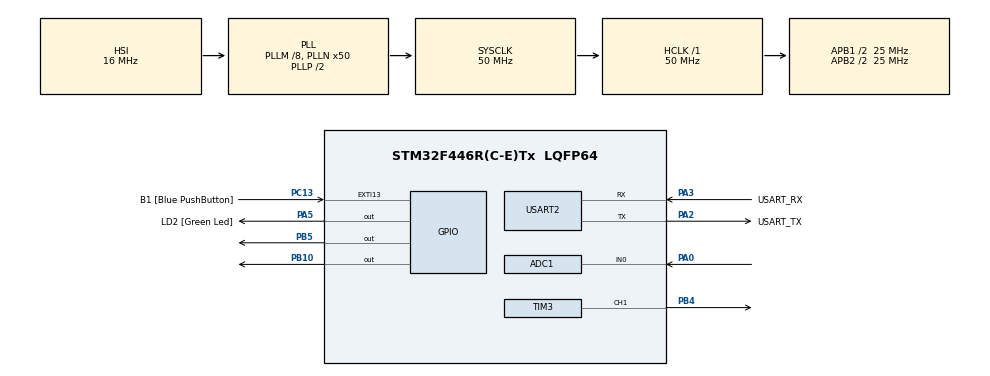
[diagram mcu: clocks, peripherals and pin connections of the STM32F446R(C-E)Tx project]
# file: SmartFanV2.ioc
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ADC1.Channel-0\#ChannelRegularConversion=ADC_CHANNEL_0
ADC1.ContinuousConvMode=ENABLE
ADC1.NbrOfConversionFlag=1
ADC1.Rank-0\#ChannelRegularConversion=1
ADC1.SamplingTime-0\#ChannelRegularConversion=ADC_SAMPLETIME_3CYCLES
ADC1.master=1
Mcu.Family=STM32F4
Mcu.Name=STM32F446R(C-E)Tx
Mcu.Package=LQFP64
NVIC.PriorityGroup=NVIC_PRIORITYGROUP_0
PA0-WKUP.Signal=ADCx_IN0
PA13.GPIO_Label=TMS
PA13.Mode=Serial_Wire
PA13.Signal=SYS_JTMS-SWDIO
PA14.GPIO_Label=TCK
PA14.Mode=Serial_Wire
PA14.Signal=SYS_JTCK-SWCLK
PA2.GPIO_Label=USART_TX
PA2.Mode=Asynchronous
PA2.Signal=USART2_TX
PA3.GPIO_Label=USART_RX
PA3.Mode=Asynchronous
PA3.Signal=USART2_RX
PA5.GPIO_Label=LD2 [Green Led]
PA5.Signal=GPIO_Output
PB10.Signal=GPIO_Output
PB3.GPIO_Label=SWO
PB3.Signal=SYS_JTDO-SWO
PB4.Signal=S_TIM3_CH1
PB5.Signal=GPIO_Output
PC13.GPIO_Label=B1 [Blue PushButton]
PC13.GPIO_ModeDefaultEXTI=GPIO_MODE_IT_FALLING
PC13.Signal=GPXTI13
PC14-OSC32_IN.Mode=LSE-External-Oscillator
PC14-OSC32_IN.Signal=RCC_OSC32_IN
PC15-OSC32_OUT.Mode=LSE-External-Oscillator
PC15-OSC32_OUT.Signal=RCC_OSC32_OUT
PH0-OSC_IN.Mode=HSE-External-Oscillator
PH0-OSC_IN.Signal=RCC_OSC_IN
PH1-OSC_OUT.Mode=HSE-External-Oscillator
PH1-OSC_OUT.Signal=RCC_OSC_OUT
ProjectManager.HeapSize=0x200
ProjectManager.StackSize=0x400
ProjectManager.TargetToolchain=STM32CubeIDE
RCC.48MHZClocksFreq_Value=84000000
RCC.AHBFreq_Value=50000000
RCC.APB1CLKDivider=RCC_HCLK_DIV2
RCC.APB1Freq_Value=25000000
RCC.APB1TimFreq_Value=50000000
RCC.APB2CLKDivider=RCC_HCLK_DIV2
RCC.APB2Freq_Value=25000000
RCC.APB2TimFreq_Value=50000000
RCC.CortexFreq_Value=50000000
RCC.FLatency-AdvancedSettings=FLASH_LATENCY_1
RCC.HCLKFreq_Value=50000000
RCC.HSE_VALUE=8000000
RCC.HSI_VALUE=16000000
RCC.PLLM=8
RCC.PLLN=50
RCC.SYSCLKFreq_VALUE=50000000
RCC.SYSCLKSource=RCC_SYSCLKSOURCE_PLLCLK
RCC.USBFreq_Value=50000000
RCC.VCOOutputFreq_Value=100000000
SH.ADCx_IN0.0=ADC1_IN0,IN0
SH.S_TIM3_CH1.0=TIM3_CH1,PWM Generation1 CH1
TIM3.Channel-PWM\ Generation1\ CH1=TIM_CHANNEL_1
TIM3.Period=20000-1
TIM3.Prescaler=50-1
USART2.VirtualMode=VM_ASYNC
VP_TIM3_VS_ClockSourceINT.Mode=Internal
board=NUCLEO-F446RE

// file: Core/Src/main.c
/* USER CODE BEGIN Header */
/**
  ******************************************************************************
  * @file           : main.c
  * @brief          : Main program body
  ******************************************************************************
  * @attention
  *
  * Copyright (c) 2025 STMicroelectronics.
  * All rights reserved.
  *
  * This software is licensed under terms that can be found in the LICENSE file
  * in the root directory of this software component.
  * If no LICENSE file comes with this software, it is provided AS-IS.
  *
  ******************************************************************************
  */
/* USER CODE END Header */
#include "main.h"

/* USER CODE BEGIN Includes */
#include "string.h"
#include "stdio.h"
#include <math.h>
/* USER CODE END Includes */

ADC_HandleTypeDef hadc1;

TIM_HandleTypeDef htim3;

UART_HandleTypeDef huart2;

void SystemClock_Config(void);
static void MX_GPIO_Init(void);
static void MX_USART2_UART_Init(void);
static void MX_ADC1_Init(void);
static void MX_TIM3_Init(void);

/* USER CODE BEGIN 0 */
uint16_t readAnalogValue;
uint16_t tempValue;
char tempBuffer[20];
char analogBuffer[20];

void calcTemp(){
	//find v out
	float vRef = 3.3;//circuit connected to 5v
	float analogMax = 4095;
	float rFixed = 10000; //10k ohm resitor
	float vOut = ((float)readAnalogValue / analogMax) * vRef;
	float rThermistor = rFixed * ((vRef/vOut) - 1);
	float tZero = 298.15;
	float beta = 3380;
	float r0 = 10000;
	float tempKelvin = 1 /((1 / tZero) + ((1 / beta) * log(rThermistor / r0)));
	float tempCelcius = tempKelvin - 273.15;
	tempValue = (tempCelcius * 9) / 5 + 32;
}

void startServo(){
	//start the servo motor turning
	for (int i= 500; i < 2501; i += 100){
		__HAL_TIM_SET_COMPARE(&htim3, TIM_CHANNEL_1, i);
		HAL_Delay(100);
	}
	for (int i= 2500; i > 499; i -= 100){
		__HAL_TIM_SET_COMPARE(&htim3, TIM_CHANNEL_1, i);
		HAL_Delay(100);
	}
}
/* USER CODE END 0 */

int main(void)
{

  /* MCU Configuration--------------------------------------------------------*/

  /* Reset of all peripherals, Initializes the Flash interface and the Systick. */
  HAL_Init();

  /* Configure the system clock */
  SystemClock_Config();

  /* Initialize all configured peripherals */
  MX_GPIO_Init();
  MX_USART2_UART_Init();
  MX_ADC1_Init();
  MX_TIM3_Init();
  /* USER CODE BEGIN 2 */
  HAL_TIM_PWM_Start(&htim3, TIM_CHANNEL_1);
  __HAL_TIM_SET_COMPARE(&htim3, TIM_CHANNEL_1, 500);
  /* USER CODE END 2 */

  /* Infinite loop */
  while (1)
  {

    /* USER CODE BEGIN 3 */
	  //start ADC
	  HAL_ADC_Start(&hadc1);
	  HAL_ADC_PollForConversion(&hadc1, HAL_MAX_DELAY);
	  readAnalogValue = HAL_ADC_GetValue(&hadc1);

	  //show via uart
	  sprintf(analogBuffer, "ADC: %d\r\n", readAnalogValue);
	  HAL_UART_Transmit(&huart2, (uint8_t *)analogBuffer, strlen(analogBuffer), HAL_MAX_DELAY);
	  //convert analog to temp values and display
	  calcTemp();
	  sprintf(tempBuffer, "TEMP: %d\r\n", tempValue);
	  HAL_UART_Transmit(&huart2, (uint8_t *)tempBuffer, strlen(tempBuffer), HAL_MAX_DELAY);
	  //if temp is higher than 76f start the fan
	  if (tempValue >= 76){
		  HAL_GPIO_WritePin(GPIOB, GPIO_PIN_10, 1);
		  HAL_GPIO_WritePin(GPIOB, GPIO_PIN_5, 0);
		  startServo();
	  } else{
		  HAL_GPIO_WritePin(GPIOB, GPIO_PIN_10, 0);
		  HAL_GPIO_WritePin(GPIOB, GPIO_PIN_5, 0);
	  }

	  HAL_Delay(1000);

  }
  /* USER CODE END 3 */
}

void SystemClock_Config(void)
{
  RCC_OscInitTypeDef RCC_OscInitStruct = {0};
  RCC_ClkInitTypeDef RCC_ClkInitStruct = {0};

  /** Configure the main internal regulator output voltage
  */
  __HAL_RCC_PWR_CLK_ENABLE();
  __HAL_PWR_VOLTAGESCALING_CONFIG(PWR_REGULATOR_VOLTAGE_SCALE3);

  /** Initializes the RCC Oscillators according to the specified parameters
  * in the RCC_OscInitTypeDef structure.
  */
  RCC_OscInitStruct.OscillatorType = RCC_OSCILLATORTYPE_HSI;
  RCC_OscInitStruct.HSIState = RCC_HSI_ON;
  RCC_OscInitStruct.HSICalibrationValue = RCC_HSICALIBRATION_DEFAULT;
  RCC_OscInitStruct.PLL.PLLState = RCC_PLL_ON;
  RCC_OscInitStruct.PLL.PLLSource = RCC_PLLSOURCE_HSI;
  RCC_OscInitStruct.PLL.PLLM = 8;
  RCC_OscInitStruct.PLL.PLLN = 50;
  RCC_OscInitStruct.PLL.PLLP = RCC_PLLP_DIV2;
  RCC_OscInitStruct.PLL.PLLQ = 2;
  RCC_OscInitStruct.PLL.PLLR = 2;
  if (HAL_RCC_OscConfig(&RCC_OscInitStruct) != HAL_OK)
  {
    Error_Handler();
  }

  /** Initializes the CPU, AHB and APB buses clocks
  */
  RCC_ClkInitStruct.ClockType = RCC_CLOCKTYPE_HCLK|RCC_CLOCKTYPE_SYSCLK
                              |RCC_CLOCKTYPE_PCLK1|RCC_CLOCKTYPE_PCLK2;
  RCC_ClkInitStruct.SYSCLKSource = RCC_SYSCLKSOURCE_PLLCLK;
  RCC_ClkInitStruct.AHBCLKDivider = RCC_SYSCLK_DIV1;
  RCC_ClkInitStruct.APB1CLKDivider = RCC_HCLK_DIV2;
  RCC_ClkInitStruct.APB2CLKDivider = RCC_HCLK_DIV2;

  if (HAL_RCC_ClockConfig(&RCC_ClkInitStruct, FLASH_LATENCY_1) != HAL_OK)
  {
    Error_Handler();
  }
}

static void MX_ADC1_Init(void)
{

  ADC_ChannelConfTypeDef sConfig = {0};

  /** Configure the global features of the ADC (Clock, Resolution, Data Alignment and number of conversion)
  */
  hadc1.Instance = ADC1;
  hadc1.Init.ClockPrescaler = ADC_CLOCK_SYNC_PCLK_DIV2;
  hadc1.Init.Resolution = ADC_RESOLUTION_12B;
  hadc1.Init.ScanConvMode = DISABLE;
  hadc1.Init.ContinuousConvMode = ENABLE;
  hadc1.Init.DiscontinuousConvMode = DISABLE;
  hadc1.Init.ExternalTrigConvEdge = ADC_EXTERNALTRIGCONVEDGE_NONE;
  hadc1.Init.ExternalTrigConv = ADC_SOFTWARE_START;
  hadc1.Init.DataAlign = ADC_DATAALIGN_RIGHT;
  hadc1.Init.NbrOfConversion = 1;
  hadc1.Init.DMAContinuousRequests = DISABLE;
  hadc1.Init.EOCSelection = ADC_EOC_SINGLE_CONV;
  if (HAL_ADC_Init(&hadc1) != HAL_OK)
  {
    Error_Handler();
  }

  /** Configure for the selected ADC regular channel its corresponding rank in the sequencer and its sample time.
  */
  sConfig.Channel = ADC_CHANNEL_0;
  sConfig.Rank = 1;
  sConfig.SamplingTime = ADC_SAMPLETIME_3CYCLES;
  if (HAL_ADC_ConfigChannel(&hadc1, &sConfig) != HAL_OK)
  {
    Error_Handler();
  }

}

static void MX_TIM3_Init(void)
{

  TIM_ClockConfigTypeDef sClockSourceConfig = {0};
  TIM_MasterConfigTypeDef sMasterConfig = {0};
  TIM_OC_InitTypeDef sConfigOC = {0};

  htim3.Instance = TIM3;
  htim3.Init.Prescaler = 50-1;
  htim3.Init.CounterMode = TIM_COUNTERMODE_UP;
  htim3.Init.Period = 20000-1;
  htim3.Init.ClockDivision = TIM_CLOCKDIVISION_DIV1;
  htim3.Init.AutoReloadPreload = TIM_AUTORELOAD_PRELOAD_DISABLE;
  if (HAL_TIM_Base_Init(&htim3) != HAL_OK)
  {
    Error_Handler();
  }
  sClockSourceConfig.ClockSource = TIM_CLOCKSOURCE_INTERNAL;
  if (HAL_TIM_ConfigClockSource(&htim3, &sClockSourceConfig) != HAL_OK)
  {
    Error_Handler();
  }
  if (HAL_TIM_PWM_Init(&htim3) != HAL_OK)
  {
    Error_Handler();
  }
  sMasterConfig.MasterOutputTrigger = TIM_TRGO_RESET;
  sMasterConfig.MasterSlaveMode = TIM_MASTERSLAVEMODE_DISABLE;
  if (HAL_TIMEx_MasterConfigSynchronization(&htim3, &sMasterConfig) != HAL_OK)
  {
    Error_Handler();
  }
  sConfigOC.OCMode = TIM_OCMODE_PWM1;
  sConfigOC.Pulse = 0;
  sConfigOC.OCPolarity = TIM_OCPOLARITY_HIGH;
  sConfigOC.OCFastMode = TIM_OCFAST_DISABLE;
  if (HAL_TIM_PWM_ConfigChannel(&htim3, &sConfigOC, TIM_CHANNEL_1) != HAL_OK)
  {
    Error_Handler();
  }
  HAL_TIM_MspPostInit(&htim3);

}

static void MX_USART2_UART_Init(void)
{

  huart2.Instance = USART2;
  huart2.Init.BaudRate = 115200;
  huart2.Init.WordLength = UART_WORDLENGTH_8B;
  huart2.Init.StopBits = UART_STOPBITS_1;
  huart2.Init.Parity = UART_PARITY_NONE;
  huart2.Init.Mode = UART_MODE_TX_RX;
  huart2.Init.HwFlowCtl = UART_HWCONTROL_NONE;
  huart2.Init.OverSampling = UART_OVERSAMPLING_16;
  if (HAL_UART_Init(&huart2) != HAL_OK)
  {
    Error_Handler();
  }

}

static void MX_GPIO_Init(void)
{
  GPIO_InitTypeDef GPIO_InitStruct = {0};

  /* GPIO Ports Clock Enable */
  __HAL_RCC_GPIOC_CLK_ENABLE();
  __HAL_RCC_GPIOH_CLK_ENABLE();
  __HAL_RCC_GPIOA_CLK_ENABLE();
  __HAL_RCC_GPIOB_CLK_ENABLE();

  /*Configure GPIO pin Output Level */
  HAL_GPIO_WritePin(LD2_GPIO_Port, LD2_Pin, GPIO_PIN_RESET);

  /*Configure GPIO pin Output Level */
  HAL_GPIO_WritePin(GPIOB, GPIO_PIN_10|GPIO_PIN_5, GPIO_PIN_RESET);

  /*Configure GPIO pin : B1_Pin */
  GPIO_InitStruct.Pin = B1_Pin;
  GPIO_InitStruct.Mode = GPIO_MODE_IT_FALLING;
  GPIO_InitStruct.Pull = GPIO_NOPULL;
  HAL_GPIO_Init(B1_GPIO_Port, &GPIO_InitStruct);

  /*Configure GPIO pin : LD2_Pin */
  GPIO_InitStruct.Pin = LD2_Pin;
  GPIO_InitStruct.Mode = GPIO_MODE_OUTPUT_PP;
  GPIO_InitStruct.Pull = GPIO_NOPULL;
  GPIO_InitStruct.Speed = GPIO_SPEED_FREQ_LOW;
  HAL_GPIO_Init(LD2_GPIO_Port, &GPIO_InitStruct);

  /*Configure GPIO pins : PB10 PB5 */
  GPIO_InitStruct.Pin = GPIO_PIN_10|GPIO_PIN_5;
  GPIO_InitStruct.Mode = GPIO_MODE_OUTPUT_PP;
  GPIO_InitStruct.Pull = GPIO_NOPULL;
  GPIO_InitStruct.Speed = GPIO_SPEED_FREQ_LOW;
  HAL_GPIO_Init(GPIOB, &GPIO_InitStruct);

}

void Error_Handler(void)
{
  __disable_irq();
  while (1)
  {
  }
}
